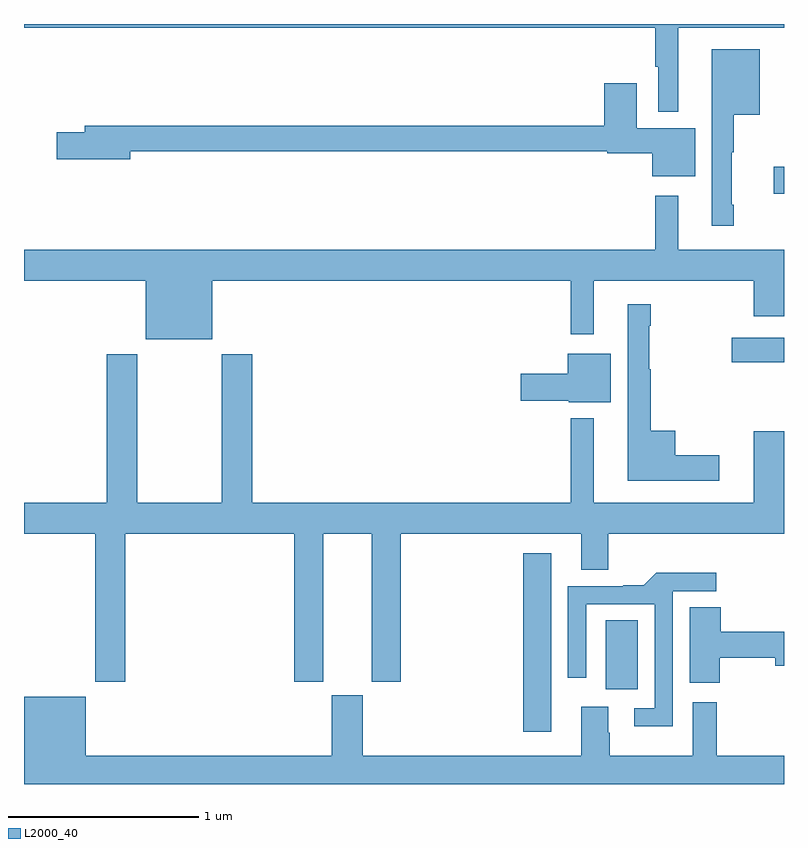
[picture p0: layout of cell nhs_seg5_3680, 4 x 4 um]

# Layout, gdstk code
import gdstk
lib = gdstk.Library(unit=1e-6, precision=1e-09)
def R(c, l, rs):  # rectangles x0, y0, x1, y1
    for r in rs: c.add(gdstk.rectangle(r[:2], r[2:], *l))
def P(c, l, *ps):  # polygons
    for p in ps: c.add(gdstk.Polygon(p, *l))
L2000_40 = (2000, 40)

nhs_seg5_3680 = lib.new_cell('nhs_seg5_3680')
R(nhs_seg5_3680, L2000_40, [(331.628,833.073,331.774,834.013), (332.063,833.298,332.23,833.66), (332.724,835.018,333,835.147), (332.946,835.906,333,836.048)])
P(nhs_seg5_3680, L2000_40, [(332.443,836.78),(333,836.78),(333,836.799),(329,836.799),(329,836.78),(332.322,836.78),(332.322,836.575),(332.339,836.575),(332.339,836.336),(332.443,836.336)],
  [(332.735,835.849),(332.725,835.849),(332.725,836.125),(332.735,836.125),(332.735,836.321),(332.872,836.321),(332.872,836.665),(332.621,836.665),(332.621,835.737),(332.735,835.737)],
  [(332.533,836.251),(332.224,836.251),(332.224,836.488),(332.054,836.488),(332.054,836.264),(329.321,836.264),(329.321,836.228),(329.172,836.228),(329.172,836.086),(329.56,836.086),(329.56,836.128),(332.07,836.128),(332.07,836.12),(332.306,836.12),(332.306,835.997),(332.533,835.997)],
  [(329.992,835.448),(331.878,835.448),(331.878,835.167),(331.999,835.167),(331.999,835.448),(332.84,835.448),(332.84,835.26),(333,835.26),(333,835.612),(332.443,835.612),(332.443,835.894),(332.322,835.894),(332.322,835.612),(329,835.612),(329,835.448),(329.642,835.448),(329.642,835.139),(329.992,835.139)],
  [(332.659,834.53),(332.428,834.53),(332.428,834.658),(332.299,834.658),(332.299,834.983),(332.291,834.983),(332.291,835.211),(332.299,835.211),(332.299,835.324),(332.177,835.324),(332.177,834.395),(332.659,834.395)],
  [(332.089,835.063),(331.862,835.063),(331.862,834.957),(331.614,834.957),(331.614,834.815),(331.866,834.815),(331.866,834.809),(332.089,834.809)],
  [(329.534,834.116),(330.422,834.116),(330.422,833.337),(330.574,833.337),(330.574,834.116),(330.83,834.116),(330.83,833.337),(330.983,833.337),(330.983,834.116),(331.934,834.116),(331.934,833.926),(332.074,833.926),(332.074,834.116),(333,834.116),(333,834.655),(332.84,834.655),(332.84,834.28),(331.999,834.28),(331.999,834.724),(331.878,834.724),(331.878,834.28),(330.2,834.28),(330.2,835.06),(330.04,835.06),(330.04,834.28),(329.595,834.28),(329.595,835.06),(329.435,835.06),(329.435,834.28),(329,834.28),(329,834.116),(329.374,834.116),(329.374,833.337),(329.534,833.337)],
  [(332.415,833.814),(332.644,833.814),(332.644,833.912),(332.327,833.912),(332.261,833.846),(332.153,833.846),(332.153,833.841),(331.863,833.841),(331.863,833.358),(331.959,833.358),(331.959,833.745),(332.319,833.745),(332.319,833.199),(332.211,833.199),(332.211,833.102),(332.415,833.102)],
  [(332.661,833.464),(332.954,833.464),(332.954,833.422),(333,833.422),(333,833.6),(332.666,833.6),(332.666,833.729),(332.504,833.729),(332.504,833.331),(332.661,833.331)],
  [(333,832.948),(332.645,832.948),(332.645,833.23),(332.519,833.23),(332.519,832.948),(332.082,832.948),(332.082,833.069),(332.074,833.069),(332.074,833.206),(331.934,833.206),(331.934,832.948),(330.784,832.948),(330.784,833.265),(330.62,833.265),(330.62,832.948),(329.326,832.948),(329.326,833.257),(329,833.257),(329,832.799),(333,832.799)])

lib.write_gds('nhs_seg5_3680.gds')
